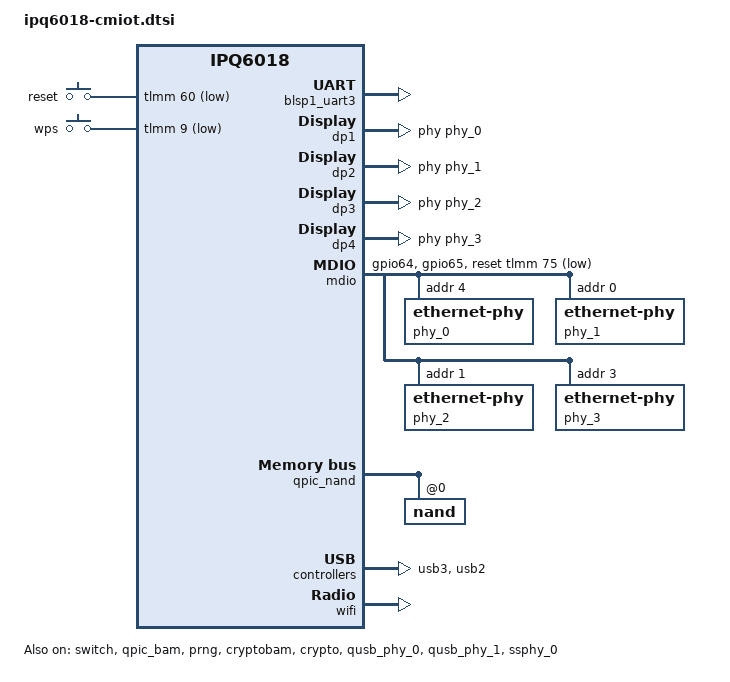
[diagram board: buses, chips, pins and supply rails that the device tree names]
// SPDX-License-Identifier: (GPL-2.0+)

/dts-v1/;

#include "ipq6018.dtsi"
#include "ipq6018-ess.dtsi"
#include "ipq6018-256m.dtsi"
#include "ipq6018-nss.dtsi"


#include <dt-bindings/input/input.h>
#include <dt-bindings/gpio/gpio.h>

/ {
	aliases {
		serial0 = &blsp1_uart3;

		/* Aliases as required by u-boot to patch MAC addresses */
		ethernet0 = &dp1;
		ethernet1 = &dp2;
		ethernet2 = &dp3;
		ethernet3 = &dp4;
	};

    /delete-node/ rpm-glink;

	chosen {
		bootargs-append = " root=/dev/ubiblock0_1 swiotlb=1";
	};

	keys {
		compatible = "gpio-keys";

		reset {
			label = "reset";
			gpios = <&tlmm 60 GPIO_ACTIVE_LOW>;
			linux,code = <KEY_RESTART>;
		};

		wps {
			label = "wps";
			gpios = <&tlmm 9 GPIO_ACTIVE_LOW>;
			linux,code = <KEY_WPS_BUTTON>;
		};
	};
};

&blsp1_uart3 {
	pinctrl-0 = <&serial_3_pins>;
	pinctrl-names = "default";
	status = "okay";
};

&tlmm {
	mdio_pins: mdio-pins {
		mdc {
			pins = "gpio64";
			function = "mdc";
			drive-strength = <8>;
			bias-pull-up;
		};

		mdio {
			pins = "gpio65";
			function = "mdio";
			drive-strength = <8>;
			bias-pull-up;
		};
	};

    button_pins: button_pins {
		wps_button {
			pins = "gpio9";
			function = "gpio";
			drive-strength = <8>;
			bias-pull-up;
		};

		reset_button {
			pins = "gpio60";
			function = "gpio";
			drive-strength = <8>;
			bias-pull-up;
		};
	};
};


&dp1 {
	phy-handle = <&phy_0>;
	status = "okay";
	qcom,id = <5>;
};

&dp2 {
	phy-handle = <&phy_1>;
	status = "okay";
	qcom,id = <1>;
};

&dp3 {
	phy-handle = <&phy_2>;
	status = "okay";
	qcom,id = <2>;
};

&dp4 {
	phy-handle = <&phy_3>;
	status = "okay";
	qcom,id = <4>;
};

&edma {
	status = "okay";
};

&mdio {
	status = "okay";
	pinctrl-0 = <&mdio_pins>;
	pinctrl-names = "default";
	reset-gpios = <&tlmm 75 GPIO_ACTIVE_LOW>;

	phy_0: ethernet-phy@0 {
		reg = <4>;
	};

	phy_1: ethernet-phy@1 {
		reg = <0>;
	};

	phy_2: ethernet-phy@2 {
		reg = <1>;
	};

	phy_3: ethernet-phy@3 {
		reg = <3>;
	};
};

&switch {
	status = "okay";

	switch_lan_bmp = <(ESS_PORT1 | ESS_PORT2 | ESS_PORT4)>; /* lan port bitmap */
	switch_wan_bmp = <ESS_PORT5>; /* wan port bitmap */
	switch_mac_mode = <MAC_MODE_DISABLED>; /* MAC mode for UNIPHY instance 0 */
	switch_mac_mode1 = <MAC_MODE_DISABLED>; /* MAC mode for UNIPHY instance 1 */
	switch_mac_mode2 = <MAC_MODE_DISABLED>; /* MAC mode for UNIPHY instance 2 */

	qcom,port_phyinfo {
		port@0 {
			port_id = <0x01>;
			phy_address = <0x00>;
		};
		port@1 {
			port_id = <0x02>;
			phy_address = <0x01>;
		};
		port@2 {
			port_id = <0x04>;
			phy_address = <0x03>;
		};
		port@3 {
			port_id = <0x05>;
			phy_address = <0x04>;
		};
	};
};

&qpic_bam {
	status = "okay";
};

&qpic_nand {
	status = "okay";

	nand@0 {
		reg = <0>;

		nand-ecc-strength = <4>;
		nand-ecc-step-size = <512>;
		nand-bus-width = <8>;
	};
};

&prng {
	status = "okay";
};

&cryptobam {
	status = "okay";
};

&crypto {
	status = "okay";
};

&qpic_bam {
	status = "okay";
};

&qusb_phy_0 {
	status = "okay";
};

&qusb_phy_1 {
	status = "okay";
};


&ssphy_0 {
	status = "okay";
};

&usb3 {
	status = "okay";
};

&usb2 {
	status = "okay";
};

&edma {
	status = "okay";
};

&wifi {
	status = "okay";
	qcom,ath11k-fw-memory-mode = <2>;
 };


&CPU0 {
	/delete-property/ cpu-supply;
};

&CPU1 {
	/delete-property/ cpu-supply;
};

&CPU2 {
	/delete-property/ cpu-supply;
};

&CPU3 {
	/delete-property/ cpu-supply;
};
